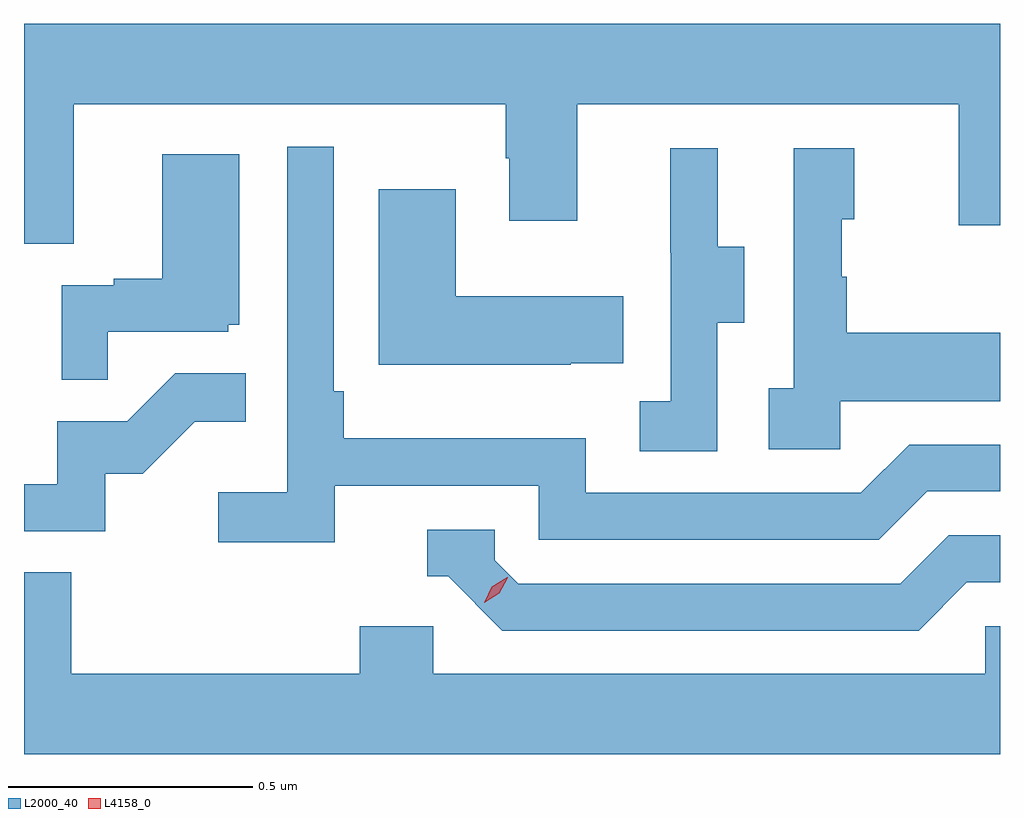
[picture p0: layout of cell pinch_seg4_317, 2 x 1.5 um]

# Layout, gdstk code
import gdstk
lib = gdstk.Library(unit=1e-6, precision=1e-09)
def P(c, l, *ps):  # polygons
    for p in ps: c.add(gdstk.Polygon(p, *l))
L2000_40 = (2000, 40)
L4158_0 = (4158, 0)

pinch_seg4_317 = lib.new_cell('pinch_seg4_317')
P(pinch_seg4_317, L2000_40, [(941.275,795.488),(942.16,795.488),(942.16,795.377),(942.167,795.377),(942.167,795.249),(942.307,795.249),(942.307,795.488),(943.088,795.488),(943.088,795.24),(943.173,795.24),(943.173,795.652),(941.173,795.652),(941.173,795.202),(941.275,795.202)],
  [(941.81,794.706),(942.228,794.706),(942.228,794.595),(942.925,794.595),(943.024,794.694),(943.173,794.694),(943.173,794.79),(942.987,794.79),(942.888,794.691),(942.324,794.691),(942.324,794.803),(941.828,794.803),(941.828,794.899),(941.808,794.899),(941.808,795.4),(941.712,795.4),(941.712,794.692),(941.571,794.692),(941.571,794.59),(941.81,794.59)],
  [(942.594,795.04),(942.649,795.04),(942.649,795.195),(942.595,795.195),(942.595,795.397),(942.497,795.397),(942.497,795.183),(942.498,795.183),(942.498,794.879),(942.435,794.879),(942.435,794.776),(942.594,794.776)],
  [(942.846,794.879),(943.173,794.879),(943.173,795.019),(942.859,795.019),(942.859,795.134),(942.849,795.134),(942.849,795.252),(942.874,795.252),(942.874,795.397),(942.75,795.397),(942.75,794.906),(942.699,794.906),(942.699,794.781),(942.846,794.781)],
  [(941.345,795.021),(941.592,795.021),(941.592,795.036),(941.614,795.036),(941.614,795.385),(941.456,795.385),(941.456,795.13),(941.357,795.13),(941.357,795.117),(941.25,795.117),(941.25,794.923),(941.345,794.923)],
  [(942.293,794.957),(942.401,794.957),(942.401,795.094),(942.058,795.094),(942.058,795.313),(941.9,795.313),(941.9,794.954),(942.293,794.954)],
  [(941.34,794.73),(941.416,794.73),(941.523,794.837),(941.627,794.837),(941.627,794.936),(941.483,794.936),(941.385,794.838),(941.241,794.838),(941.241,794.709),(941.173,794.709),(941.173,794.613),(941.34,794.613)],
  [(943.105,794.508),(943.173,794.508),(943.173,794.604),(943.068,794.604),(942.969,794.505),(942.186,794.505),(942.138,794.553),(942.138,794.616),(941.999,794.616),(941.999,794.52),(942.042,794.52),(942.153,794.409),(943.006,794.409)],
  [(943.173,794.418),(943.143,794.418),(943.143,794.32),(942.012,794.32),(942.012,794.418),(941.861,794.418),(941.861,794.32),(941.27,794.32),(941.27,794.528),(941.173,794.528),(941.173,794.156),(943.173,794.156)])
P(pinch_seg4_317, L4158_0, [(942.116,794.466),(942.116,794.466),(942.132,794.499),(942.163,794.518),(942.164,794.518),(942.164,794.517),(942.147,794.485),(942.116,794.466)])

lib.write_gds('pinch_seg4_317.gds')
